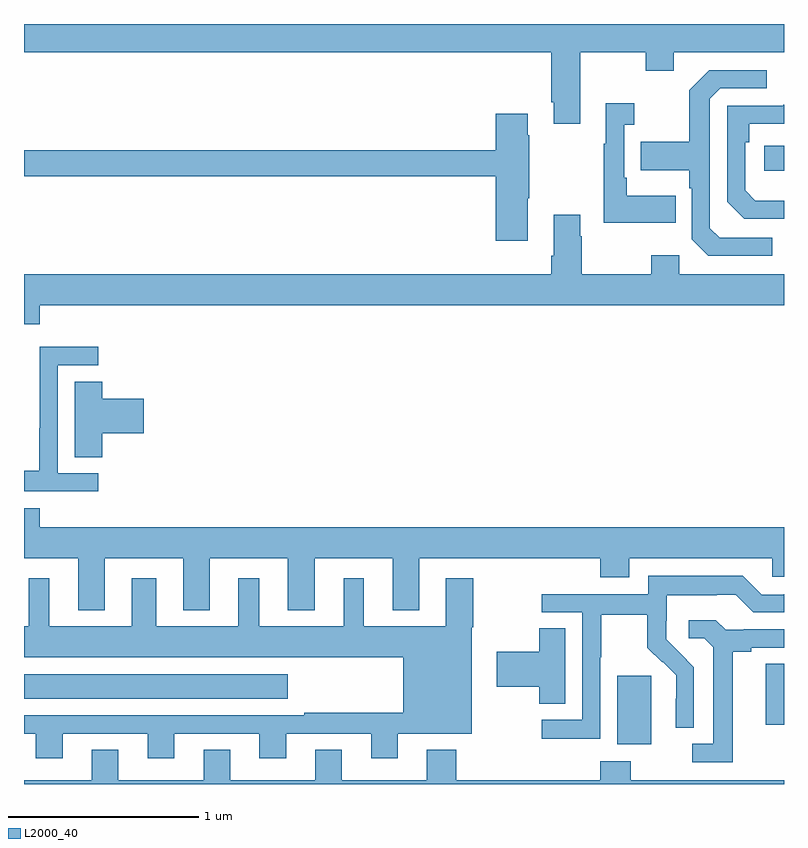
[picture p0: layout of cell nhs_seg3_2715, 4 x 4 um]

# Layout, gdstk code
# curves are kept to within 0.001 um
import gdstk
lib = gdstk.Library(unit=1e-6, precision=1e-09)
def R(c, l, rs):  # rectangles x0, y0, x1, y1
    for r in rs: c.add(gdstk.rectangle(r[:2], r[2:], *l))
def P(c, l, *ps):  # polygons
    for p in ps: c.add(gdstk.Polygon(p, *l))
L2000_40 = (2000, 40)

nhs_seg3_2715 = lib.new_cell('nhs_seg3_2715')
R(nhs_seg3_2715, L2000_40, [(254.123,694.61,254.302,694.971), (254.903,694.713,255,695.033), (251,694.85,252.388,694.978), (254.895,697.628,255,697.758)])
P(nhs_seg3_2715, L2000_40, [(253.927,698.252),(254.272,698.252),(254.272,698.153),(254.419,698.153),(254.419,698.252),(255,698.252),(255,698.4),(251,698.4),(251,698.252),(253.775,698.252),(253.775,697.987),(253.787,697.987),(253.787,697.875),(253.927,697.875)],
  [(254.938,697.275),(254.661,697.275),(254.61,697.326),(254.61,698.007),(254.664,698.061),(254.908,698.061),(254.908,698.157),(254.607,698.157),(254.502,698.051),(254.502,697.779),(254.245,697.779),(254.245,697.631),(254.502,697.631),(254.502,697.535),(254.514,697.535),(254.514,697.266),(254.601,697.179),(254.938,697.179)],
  [(254.429,697.495),(254.173,697.495),(254.173,697.591),(254.16,697.591),(254.16,697.871),(254.212,697.871),(254.212,697.984),(254.063,697.984),(254.063,697.771),(254.052,697.771),(254.052,697.355),(254.429,697.355)],
  [(255,697.471),(254.849,697.471),(254.796,697.524),(254.796,697.778),(254.816,697.778),(254.816,697.875),(255,697.875),(255,697.976),(254.995,697.976),(254.995,697.971),(254.7,697.971),(254.7,697.464),(254.79,697.374),(255,697.374)],
  [(253.651,697.483),(253.659,697.483),(253.659,697.814),(253.651,697.814),(253.651,697.927),(253.484,697.927),(253.484,697.736),(251,697.736),(251,697.6),(253.484,697.6),(253.484,697.26),(253.651,697.26)],
  [(251.084,696.92),(255,696.92),(255,697.084),(254.448,697.084),(254.448,697.183),(254.302,697.183),(254.302,697.084),(253.935,697.084),(253.935,697.283),(253.927,697.283),(253.927,697.396),(253.787,697.396),(253.787,697.18),(253.775,697.18),(253.775,697.084),(251,697.084),(251,696.821),(251.084,696.821)],
  [(251.392,696.036),(251.178,696.036),(251.178,696.603),(251.392,696.603),(251.392,696.702),(251.082,696.702),(251.082,696.272),(251.08,696.272),(251.08,696.049),(251,696.049),(251,695.94),(251.392,695.94)],
  [(251.411,696.245),(251.629,696.245),(251.629,696.428),(251.411,696.428),(251.411,696.518),(251.267,696.518),(251.267,696.121),(251.411,696.121)],
  [(251.425,695.588),(251.837,695.588),(251.837,695.315),(251.977,695.315),(251.977,695.588),(252.389,695.588),(252.389,695.315),(252.529,695.315),(252.529,695.588),(252.941,695.588),(252.941,695.315),(253.081,695.315),(253.081,695.588),(254.033,695.588),(254.033,695.489),(254.185,695.489),(254.185,695.588),(254.937,695.588),(254.937,695.49),(255,695.49),(255,695.752),(251.084,695.752),(251.084,695.851),(251,695.851),(251,695.588),(251.285,695.588),(251.285,695.315),(251.425,695.315)],
  [(254.034,695.068),(254.037,695.068),(254.037,695.292),(254.281,695.292),(254.281,695.117),(254.358,695.04),(254.361,695.043),(254.432,694.973),(254.432,694.85),(254.43,694.85),(254.43,694.696),(254.526,694.696),(254.526,695.014),(254.38,695.162),(254.38,695.259),(254.382,695.259),(254.382,695.393),(254.645,695.393),(254.645,695.397),(254.745,695.397),(254.838,695.304),(255,695.304),(255,695.4),(254.999,695.397),(254.883,695.397),(254.783,695.497),(254.286,695.497),(254.286,695.4),(253.725,695.4),(253.725,695.304),(253.938,695.304),(253.938,694.737),(253.725,694.737),(253.725,694.639),(254.034,694.639)],
  [(251.203,694.665),(251.651,694.665),(251.651,694.536),(251.791,694.536),(251.791,694.665),(252.239,694.665),(252.239,694.536),(252.379,694.536),(252.379,694.665),(252.827,694.665),(252.827,694.536),(252.967,694.536),(252.967,694.664),(253.357,694.664),(253.357,695.226),(253.365,695.226),(253.365,695.482),(253.22,695.482),(253.22,695.23),(252.787,695.23),(252.787,695.482),(252.683,695.482),(252.683,695.23),(252.238,695.23),(252.238,695.482),(252.128,695.482),(252.128,695.23),(251.695,695.23),(251.695,695.482),(251.567,695.482),(251.567,695.23),(251.134,695.23),(251.134,695.482),(251.024,695.482),(251.024,695.23),(251,695.23),(251,695.066),(252.995,695.066),(252.995,694.774),(252.475,694.774),(252.475,694.761),(251,694.761),(251,694.665),(251.063,694.665),(251.063,694.536),(251.203,694.536)],
  [(254.731,695.096),(254.827,695.096),(254.827,695.118),(255,695.118),(255,695.214),(254.788,695.214),(254.788,695.211),(254.694,695.211),(254.642,695.263),(254.499,695.263),(254.499,695.166),(254.58,695.166),(254.627,695.119),(254.627,694.611),(254.517,694.611),(254.517,694.515),(254.731,694.515)],
  [(253.849,695.219),(253.711,695.219),(253.711,695.096),(253.488,695.096),(253.488,694.913),(253.711,694.913),(253.711,694.822),(253.849,694.822)],
  [(255,694.42),(254.193,694.42),(254.193,694.519),(254.033,694.519),(254.033,694.42),(253.274,694.42),(253.274,694.579),(253.121,694.579),(253.121,694.42),(252.673,694.42),(252.673,694.58),(252.533,694.58),(252.533,694.42),(252.085,694.42),(252.085,694.58),(251.945,694.58),(251.945,694.42),(251.497,694.42),(251.497,694.58),(251.357,694.58),(251.357,694.42),(251,694.42),(251,694.4),(255,694.4)])

lib.write_gds('nhs_seg3_2715.gds')
